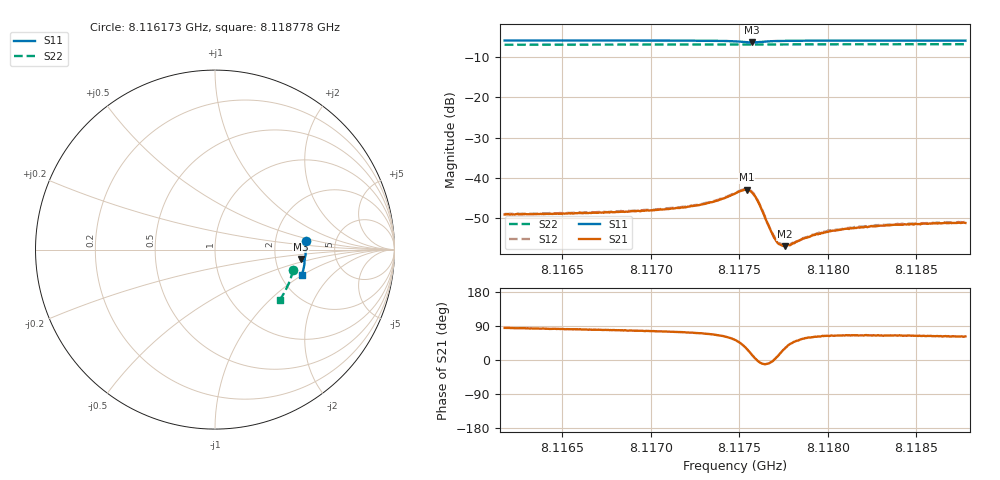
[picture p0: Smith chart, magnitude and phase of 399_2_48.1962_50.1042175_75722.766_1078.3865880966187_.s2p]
#  HZ  S  RI  R  50.00
! Rohde & Schwarz Vector Network Analyzer
! Rohde-Schwarz,ZNB20-2Port,1311601062101988,3.16
! Created: UTC 3/20/2024, 11:53:57 AM
! freq[Hz]  re:S11  im:S11  re:S21  im:S21  re:S12  im:S12  re:S22  im:S22
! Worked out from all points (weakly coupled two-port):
!   401 points, 8.116173 GHz to 8.118778 GHz, reference 50 ohm
!   highest |S21| = -42.91 dB at 8.11754 GHz (marker M1); lowest = -56.9 dB at 8.117755 GHz (marker M2)
!   lowest |S11| = -6.4 dB at 8.117573 GHz (marker M3), VSWR 2.84, Z = 139 - j19 ohm
!   |S11| at or under -10 dB: nowhere
!   |S22| runs from -7.0 to -6.8 dB; largest |S21 - S12| = 0.00019
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8.1161729e9  0.5052 0.0454  0.000328 0.00351  0.000349 0.00357  0.4347 -0.1129
8.1166092e9  0.5064 0.0124  0.00061 0.00363  0.000666 0.00368  0.4273 -0.1423
8.1170455e9  0.505 -0.0215  0.00101 0.00392  0.00109 0.00396  0.4178 -0.171
8.1171887e9  0.5037 -0.0332  0.00124 0.00414  0.00133 0.00418  0.4142 -0.1806
8.1172994e9  0.5018 -0.0431  0.00165 0.00446  0.00172 0.00455  0.4112 -0.1877
8.1173711e9  0.4995 -0.05  0.00211 0.00478  0.0022 0.00482  0.4093 -0.1925
8.1174753e9  0.4911 -0.0606  0.00388 0.00511  0.00401 0.00517  0.4061 -0.1991
8.1175143e9  0.4843 -0.0622  0.00523 0.00463  0.00538 0.00468  0.4045 -0.2015
8.1175404e9  0.4793 -0.0601  0.00619 0.00359  0.00635 0.00361  0.4038 -0.203
8.1175729e9  0.4764 -0.0526  0.00641 0.00143  0.00652 0.0014  0.4028 -0.2046
8.1175925e9  0.4784 -0.0482  0.00576 0.000272  0.00588 0.000183  0.4025 -0.2056
8.1176055e9  0.481 -0.0465  0.00509 -0.000274  0.0052 -0.000302  0.4022 -0.2063
8.1176706e9  0.493 -0.0489  0.00237 -0.000335  0.00238 -0.000387  0.4009 -0.2104
8.1177032e9  0.4957 -0.0528  0.00173 0.000109  0.00176 6.5e-05  0.3999 -0.2127
8.1177292e9  0.4971 -0.0561  0.00143 0.000443  0.00148 0.000456  0.3993 -0.2142
8.1177553e9  0.498 -0.0591  0.00125 0.0007  0.00127 0.000691  0.3984 -0.2162
8.1177943e9  0.4986 -0.0635  0.00108 0.00105  0.00112 0.00103  0.3973 -0.2185
8.1179115e9  0.4986 -0.0747  0.000959 0.00168  0.00101 0.0017  0.3937 -0.226
8.1180027e9  0.4977 -0.0826  0.000962 0.00193  0.00102 0.00202  0.3906 -0.2317
8.1181004e9  0.4965 -0.0906  0.000982 0.00213  0.00102 0.00212  0.3873 -0.2377
8.1183478e9  0.4927 -0.1096  0.00112 0.00233  0.00113 0.00241  0.3786 -0.2527
8.1187776e9  0.4844 -0.141  0.00129 0.00246  0.00136 0.00248  0.362 -0.278
